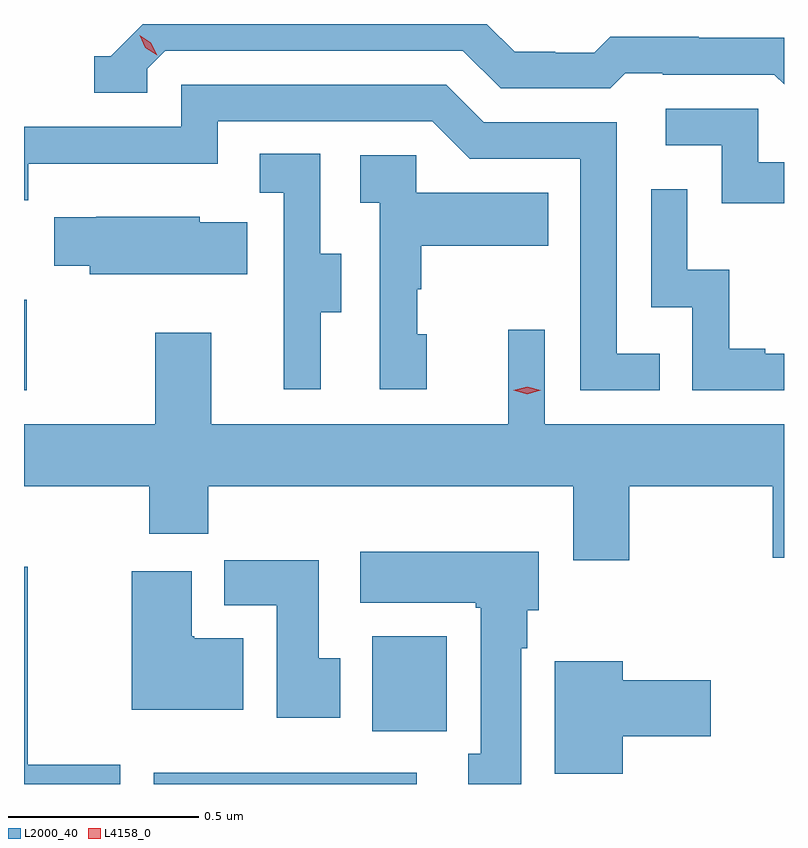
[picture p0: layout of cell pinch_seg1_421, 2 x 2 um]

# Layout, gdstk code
import gdstk
lib = gdstk.Library(unit=1e-6, precision=1e-09)
def R(c, l, rs):  # rectangles x0, y0, x1, y1
    for r in rs: c.add(gdstk.rectangle(r[:2], r[2:], *l))
def P(c, l, *ps):  # polygons
    for p in ps: c.add(gdstk.Polygon(p, *l))
L2000_40 = (2000, 40)
L4158_0 = (4158, 0)

pinch_seg1_421 = lib.new_cell('pinch_seg1_421')
R(pinch_seg1_421, L2000_40, [(930.611,528.305,931.303,528.334), (931.187,528.444,931.383,528.694), (930.27,529.341,930.277,529.58)])
P(pinch_seg1_421, L2000_40, [(930.594,530.187),(930.642,530.235),(931.425,530.235),(931.524,530.136),(931.813,530.136),(931.852,530.175),(931.951,530.175),(931.951,530.172),(932.244,530.172),(932.27,530.146),(932.27,530.269),(932.046,530.269),(932.046,530.272),(931.813,530.272),(931.771,530.229),(931.668,530.229),(931.668,530.232),(931.561,530.232),(931.488,530.305),(930.583,530.305),(930.498,530.22),(930.455,530.22),(930.455,530.124),(930.594,530.124)],
  [(931.943,529.437),(931.83,529.437),(931.83,530.046),(931.48,530.046),(931.381,530.145),(930.684,530.145),(930.684,530.034),(930.27,530.034),(930.27,529.841),(930.281,529.841),(930.281,529.937),(930.78,529.937),(930.78,530.049),(931.344,530.049),(931.443,529.95),(931.734,529.95),(931.734,529.341),(931.943,529.341)],
  [(932.27,529.941),(932.202,529.941),(932.202,530.082),(931.959,530.082),(931.959,529.986),(932.106,529.986),(932.106,529.833),(932.27,529.833)],
  [(931.051,529.546),(931.105,529.546),(931.105,529.701),(931.05,529.701),(931.05,529.964),(930.891,529.964),(930.891,529.861),(930.954,529.861),(930.954,529.557),(930.953,529.557),(930.953,529.344),(931.051,529.344)],
  [(931.33,529.488),(931.305,529.488),(931.305,529.607),(931.315,529.607),(931.315,529.721),(931.649,529.721),(931.649,529.861),(931.302,529.861),(931.302,529.959),(931.155,529.959),(931.155,529.835),(931.206,529.835),(931.206,529.344),(931.33,529.344)],
  [(932.27,529.437),(932.221,529.437),(932.221,529.45),(932.126,529.45),(932.126,529.658),(932.016,529.658),(932.016,529.87),(931.92,529.87),(931.92,529.56),(932.028,529.56),(932.028,529.341),(932.27,529.341)],
  [(930.857,529.783),(930.732,529.783),(930.732,529.798),(930.46,529.798),(930.46,529.797),(930.349,529.797),(930.349,529.669),(930.443,529.669),(930.443,529.646),(930.857,529.646)],
  [(931.863,529.088),(932.24,529.088),(932.24,528.9),(932.27,528.9),(932.27,529.252),(931.641,529.252),(931.641,529.501),(931.544,529.501),(931.544,529.252),(930.763,529.252),(930.763,529.492),(930.616,529.492),(930.616,529.252),(930.27,529.252),(930.27,529.088),(930.599,529.088),(930.599,528.964),(930.755,528.964),(930.755,529.088),(931.715,529.088),(931.715,528.894),(931.863,528.894)],
  [(931.579,528.662),(931.594,528.662),(931.594,528.762),(931.624,528.762),(931.624,528.916),(931.155,528.916),(931.155,528.782),(931.459,528.782),(931.459,528.769),(931.472,528.769),(931.472,528.385),(931.439,528.385),(931.439,528.305),(931.579,528.305)],
  [(931.102,528.636),(931.045,528.636),(931.045,528.894),(930.797,528.894),(930.797,528.776),(930.935,528.776),(930.935,528.48),(931.102,528.48)],
  [(930.523,528.356),(930.28,528.356),(930.28,528.877),(930.27,528.877),(930.27,528.305),(930.523,528.305)],
  [(930.847,528.688),(930.718,528.688),(930.718,528.694),(930.712,528.694),(930.712,528.865),(930.554,528.865),(930.554,528.5),(930.847,528.5)],
  [(931.846,528.431),(932.077,528.431),(932.077,528.578),(931.846,528.578),(931.846,528.628),(931.667,528.628),(931.667,528.332),(931.846,528.332)])
P(pinch_seg1_421, L4158_0, [(931.594,529.331),(931.558,529.341),(931.558,529.341),(931.558,529.341),(931.594,529.351),(931.63,529.341),(931.63,529.341),(931.63,529.341)],
  [(930.62,530.223),(930.589,530.242),(930.574,530.275),(930.574,530.276),(930.574,530.276),(930.604,530.256),(930.62,530.223),(930.62,530.223)])

lib.write_gds('pinch_seg1_421.gds')
